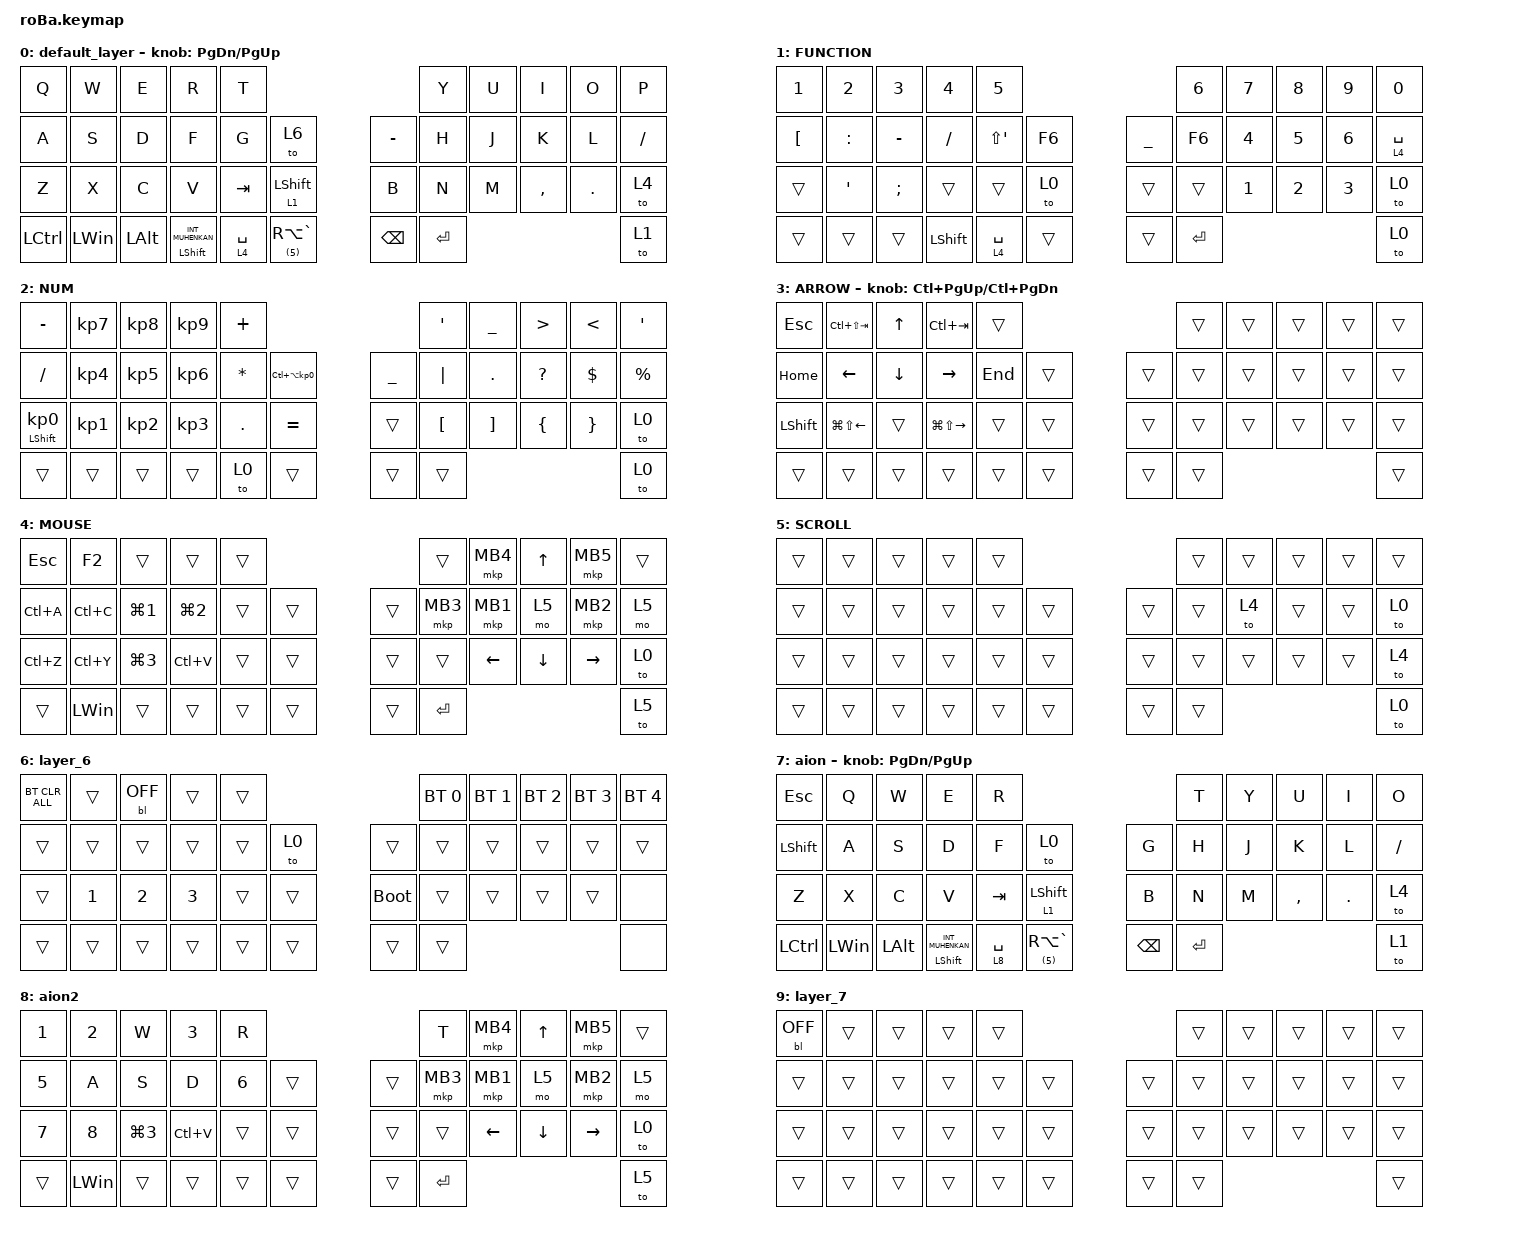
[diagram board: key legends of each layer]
#include <behaviors.dtsi>
#include <dt-bindings/zmk/backlight.h>
#include <dt-bindings/zmk/bt.h>
#include <dt-bindings/zmk/keys.h>
#include <dt-bindings/zmk/pointing.h>

&mt {
    flavor = "balanced";
    quick-tap-ms = <0>;
};

&trackball {
    scroll-layers = <5>;

    // arrows {
    //     layers = <3>;
    //     bindings =
    //         <&kp RIGHT_ARROW>,
    //         <&kp LEFT_ARROW>,
    //         <&kp UP_ARROW>,
    //         <&kp DOWN_ARROW>;
    //     tick = <10>;
    //     wait-ms = <5>;
    //     tap-ms = <5>;
    // };
};

/ {
    combos {
        compatible = "zmk,combos";

        tab {
            bindings = <&kp TAB>;
            key-positions = <11 12>;
        };

        shift_tab {
            bindings = <&kp LC(NUMBER_1)>;
            key-positions = <0 1>;
        };

        muhennkann {
            bindings = <&kp LC(W)>;
            key-positions = <34 35>;
        };

        eq {
            bindings = <&kp EQUAL>;
            key-positions = <24 25>;
        };

        windoutozi {
            bindings = <&kp LS(LC(T))>;
            key-positions = <32 33>;
        };

        work {
            bindings = <&work>;
            key-positions = <8 9>;
        };

        aion {
            bindings = <&to 7>;
            key-positions = <0 1 9 8>;
        };

        defolt {
            bindings = <&to 0>;
            key-positions = <0 1 3 2 6 8 7 9>;
        };
    };

    macros {
        to_layer_0: to_layer_0 {
            compatible = "zmk,behavior-macro-one-param";
            #binding-cells = <1>;
            bindings = <&to 0 &macro_param_1to1 &kp MACRO_PLACEHOLDER>;
            label = "TO_LAYER_0";
        };

        file: file {
            compatible = "zmk,behavior-macro";
            #binding-cells = <0>;
            bindings =
                <&macro_press>,
                <&kp LEFT_WIN>,
                <&macro_tap>,
                <&kp NUMBER_1>,
                <&macro_release>;

            label = "FILE";
        };

        brows: brows {
            compatible = "zmk,behavior-macro";
            #binding-cells = <0>;
            bindings =
                <&macro_press>,
                <&kp LEFT_WIN>,
                <&macro_tap>,
                <&kp NUMBER_3>,
                <&macro_release>;

            label = "BROWS";
        };

        cybows: cybows {
            compatible = "zmk,behavior-macro";
            #binding-cells = <0>;
            bindings =
                <&macro_press>,
                <&kp LEFT_WIN>,
                <&macro_tap>,
                <&kp NUMBER_2>,
                <&macro_release>;

            label = "CYBOWS";
        };

        work: new_macro {
            compatible = "zmk,behavior-macro";
            #binding-cells = <0>;
            bindings = <&kp LEFT_WIN &kp LC(AT)>;
            label = "NEW_MACRO";
        };
    };

    behaviors {
        lt_to_layer_0: lt_to_layer_0 {
            compatible = "zmk,behavior-hold-tap";
            label = "LAYER_TAP_TO_0";
            bindings = <&mo>, <&to_layer_0>;

            #binding-cells = <2>;
            tapping-term-ms = <200>;
        };
    };

    keymap {
        compatible = "zmk,keymap";

        default_layer {
            bindings = <
&kp Q      &kp W         &kp E         &kp R                        &kp T                                                         &kp Y      &kp U  &kp I      &kp O    &kp P
&kp A      &kp S         &kp D         &kp F                        &kp G        &to 6                             &kp MINUS      &kp H      &kp J  &kp K      &kp L    &kp SLASH
&kp Z      &kp X         &kp C         &kp V                        &kp TAB      &lt 1 LEFT_SHIFT                  &kp B          &kp N      &kp M  &kp COMMA  &kp DOT  &to 4
&kp LCTRL  &kp LEFT_WIN  &kp LEFT_ALT  &mt LEFT_SHIFT INT_MUHENKAN  &lt 4 SPACE  &lt_to_layer_0 (5) RA(GRAVE)      &kp BACKSPACE  &kp ENTER                             &to 1
            >;

            sensor-bindings = <&inc_dec_kp PAGE_DOWN PG_UP>;
        };

        FUNCTION {
            bindings = <
&kp NUMBER_1      &kp NUMBER_2      &kp NUMBER_3  &kp NUMBER_4    &kp N5                                       &kp NUMBER_6  &kp N7        &kp N8        &kp N9        &kp N0
&kp LEFT_BRACKET  &kp COLON         &kp MINUS     &kp SLASH       &kp LS(SINGLE_QUOTE)  &kp F6      &kp UNDER  &kp F6        &kp NUMBER_4  &kp N5        &kp NUMBER_6  &lt 4 SPACE
&trans            &kp SINGLE_QUOTE  &kp SEMI      &trans          &trans                &to 0       &trans     &trans        &kp NUMBER_1  &kp NUMBER_2  &kp NUMBER_3  &to 0
&trans            &trans            &trans        &kp LEFT_SHIFT  &lt 4 SPACE           &trans      &trans     &kp ENTER                                               &to 0
            >;
        };

        NUM {
            bindings = <
&kp MINUS                   &kp KP_NUMBER_7  &kp KP_NUMBER_8  &kp KP_NUMBER_9  &kp PLUS                                                   &kp SINGLE_QUOTE  &kp UNDERSCORE     &kp GT          &kp LT           &kp APOSTROPHE
&kp SLASH                   &kp KP_NUMBER_4  &kp KP_NUMBER_5  &kp KP_NUMBER_6  &kp ASTERISK  &kp LC(LA(KP_NUMBER_0))      &kp UNDERSCORE  &kp PIPE          &kp PERIOD         &kp QUESTION    &kp DOLLAR       &kp PERCENT
&mt LEFT_SHIFT KP_NUMBER_0  &kp KP_NUMBER_1  &kp KP_NUMBER_2  &kp KP_NUMBER_3  &kp PERIOD    &kp EQUAL                    &trans          &kp LEFT_BRACKET  &kp RIGHT_BRACKET  &kp LEFT_BRACE  &kp RIGHT_BRACE  &to 0
&trans                      &trans           &trans           &trans           &to 0         &trans                       &trans          &trans                                                                &to 0
            >;
        };

        ARROW {
            bindings = <
&kp ESCAPE      &kp LC(LS(TAB))         &kp UP_ARROW    &kp LC(TAB)              &trans                       &trans  &trans  &trans  &trans  &trans
&kp HOME        &kp LEFT_ARROW          &kp DOWN_ARROW  &kp RIGHT_ARROW          &kp END  &trans      &trans  &trans  &trans  &trans  &trans  &trans
&kp LEFT_SHIFT  &kp LG(LS(LEFT_ARROW))  &trans          &kp LG(LS(RIGHT_ARROW))  &trans   &trans      &trans  &trans  &trans  &trans  &trans  &trans
&trans          &trans                  &trans          &trans                   &trans   &trans      &trans  &trans                          &trans
            >;

            sensor-bindings = <&inc_dec_kp LC(PAGE_UP) LC(PAGE_DOWN)>;
        };

        MOUSE {
            bindings = <
&kp ESC    &kp F2        &trans            &trans            &trans                      &trans     &mkp MB4        &kp UP_ARROW    &mkp MB5         &trans
&kp LC(A)  &kp LC(C)     &kp LG(NUMBER_1)  &kp LG(NUMBER_2)  &trans  &trans      &trans  &mkp MB3   &mkp MB1        &mo 5           &mkp MB2         &mo 5
&kp LC(Z)  &kp LC(Y)     &kp LG(NUMBER_3)  &kp LC(V)         &trans  &trans      &trans  &trans     &kp LEFT_ARROW  &kp DOWN_ARROW  &kp RIGHT_ARROW  &to 0
&trans     &kp LEFT_WIN  &trans            &trans            &trans  &trans      &trans  &kp ENTER                                                   &to 5
            >;
        };

        SCROLL {
            bindings = <
&trans  &trans  &trans  &trans  &trans                      &trans  &trans  &trans  &trans  &trans
&trans  &trans  &trans  &trans  &trans  &trans      &trans  &trans  &to 4   &trans  &trans  &to 0
&trans  &trans  &trans  &trans  &trans  &trans      &trans  &trans  &trans  &trans  &trans  &to 4
&trans  &trans  &trans  &trans  &trans  &trans      &trans  &trans                          &to 0
            >;
        };

        layer_6 {
            bindings = <
&bt BT_CLR_ALL  &trans        &bl BL_OFF    &trans        &trans                           &bt BT_SEL 0  &bt BT_SEL 1  &bt BT_SEL 2  &bt BT_SEL 3  &bt BT_SEL 4
&trans          &trans        &trans        &trans        &trans  &to 0       &trans       &trans        &trans        &trans        &trans        &trans
&trans          &kp NUMBER_1  &kp NUMBER_2  &kp NUMBER_3  &trans  &trans      &bootloader  &trans        &trans        &trans        &trans        &none
&trans          &trans        &trans        &trans        &trans  &trans      &trans       &trans                                                  &none
            >;
        };

        aion {
            bindings = <
&kp ESCAPE      &kp Q         &kp W         &kp E                        &kp R                                                         &kp T      &kp Y  &kp U      &kp I    &kp O
&kp LEFT_SHIFT  &kp A         &kp S         &kp D                        &kp F        &to 0                             &kp G          &kp H      &kp J  &kp K      &kp L    &kp SLASH
&kp Z           &kp X         &kp C         &kp V                        &kp TAB      &lt 1 LEFT_SHIFT                  &kp B          &kp N      &kp M  &kp COMMA  &kp DOT  &to 4
&kp LCTRL       &kp LEFT_WIN  &kp LEFT_ALT  &mt LEFT_SHIFT INT_MUHENKAN  &lt 8 SPACE  &lt_to_layer_0 (5) RA(GRAVE)      &kp BACKSPACE  &kp ENTER                             &to 1
            >;

            sensor-bindings = <&inc_dec_kp PAGE_DOWN PG_UP>;
        };

        aion2 {
            bindings = <
&kp NUMBER_1  &kp NUMBER_2  &kp W             &kp NUMBER_3  &kp R                             &kp T      &mkp MB4        &kp UP_ARROW    &mkp MB5         &trans
&kp N5        &kp A         &kp S             &kp D         &kp NUMBER_6  &trans      &trans  &mkp MB3   &mkp MB1        &mo 5           &mkp MB2         &mo 5
&kp N7        &kp N8        &kp LG(NUMBER_3)  &kp LC(V)     &trans        &trans      &trans  &trans     &kp LEFT_ARROW  &kp DOWN_ARROW  &kp RIGHT_ARROW  &to 0
&trans        &kp LEFT_WIN  &trans            &trans        &trans        &trans      &trans  &kp ENTER                                                   &to 5
            >;
        };

        layer_7 {
            bindings = <
&bl BL_OFF  &trans  &trans  &trans  &trans                      &trans  &trans  &trans  &trans  &trans
&trans      &trans  &trans  &trans  &trans  &trans      &trans  &trans  &trans  &trans  &trans  &trans
&trans      &trans  &trans  &trans  &trans  &trans      &trans  &trans  &trans  &trans  &trans  &trans
&trans      &trans  &trans  &trans  &trans  &trans      &trans  &trans                          &trans
            >;
        };
    };
};
